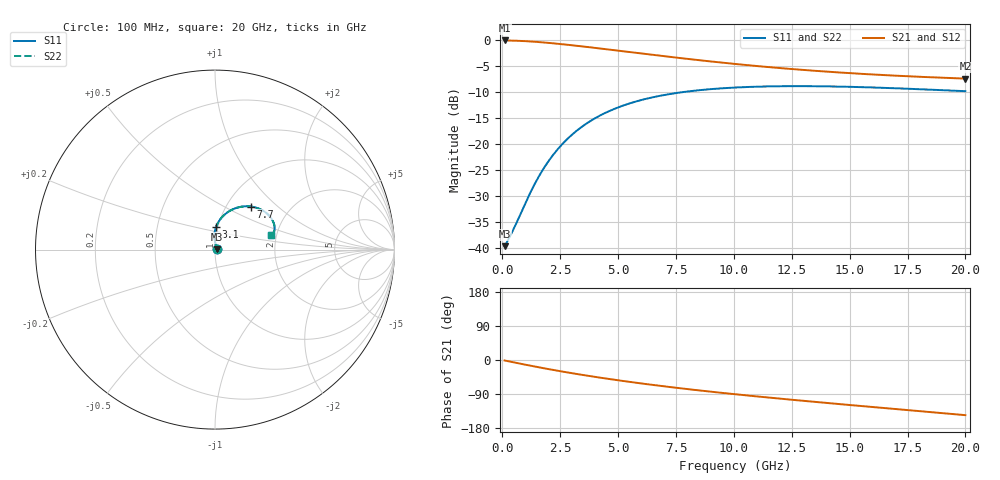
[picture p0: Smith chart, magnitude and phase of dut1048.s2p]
! Touchstone file exported from HFSS 2024.1.0
!  File:  C:/UserFiles/LocalFiles/RDL_TSV_Batchsim/temp_RDL_TSV_1048_1780087407.aedt
!  Generated:  05:03:37 AM May 30, 2026
!  Design:  RDL_TSV
!  Project:  temp_RDL_TSV_1048_1780087407
!  Setup:  Setup1
!  Solution:  Sweep
! Variables:
!  dtsv = 5.16um
!  hbump = 3um
!  htsv = 99.38um
!  ldown = 309.94um
!  lrdl = 194.67um
!  p = 40
!  p1 = 54.1um
!  rhole = 10um
!  subl = 1708.5um
!  t = 450um
!  tdown = 4.15um
!  trdl = 4.75um
!  viad = 10um
!  wdown = 16.87um
!  wrdl = 24.55um
!  xbump = 18um
# GHz S MA R 50.000000
! Terminal data exported
! Port[1] = TM1_1_T1
! Port[2] = TM1_4_T1
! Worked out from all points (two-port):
!   200 points, 100 MHz to 20 GHz, reference 50 ohm
!   highest |S21| = -0.09 dB at 100 MHz (marker M1); lowest = -7.4 dB at 20 GHz (marker M2)
!   |S21| within 3 dB of the highest: start of sweep to 6.933 GHz
!   lowest |S11| = -39.7 dB at 100 MHz (marker M3), VSWR 1.02, Z = 51 + j0.273 ohm
!   |S11| at or under -10 dB: start of sweep to 7.856 GHz
!   |S22| runs from -39.7 to -8.9 dB; largest |S21 - S12| = 9e-15
!   S11 on the Smith chart (normalised r, x): 100 MHz: 1.02, +0.01; 3.1 GHz: 0.98, +0.25; 7.7 GHz: 1.30, +0.69; 20 GHz: 1.87, +0.33
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0.1  0.01035 15.0  0.9898 -1.3  0.9898 -1.3  0.01035 15.0
! Gamma 0 0 0 0
! Port Impedance 50 0 50 0
0.5  0.0153 53.5  0.9853 -6.3  0.9853 -6.3  0.0153 53.5
0.9  0.02405 76.2  0.9772 -11.2  0.9772 -11.2  0.02405 76.2
1.3  0.0372 87.5  0.9653 -16.0  0.9653 -16.0  0.03719 87.5
1.7  0.05398 92.0  0.9505 -20.7  0.9505 -20.7  0.05396 92.0
2  0.06834 92.7  0.9379 -24.1  0.9379 -24.1  0.06832 92.7
2.4  0.0891 91.7  0.9197 -28.5  0.9197 -28.5  0.08907 91.7
2.7  0.1054 90.1  0.9053 -31.6  0.9053 -31.6  0.1054 90.1
3.1  0.1275 87.2  0.8854 -35.8  0.8854 -35.8  0.1274 87.2
3.5  0.1495 83.8  0.8652 -39.7  0.8652 -39.7  0.1494 83.8
4.2  0.1863 77.6  0.8296 -46.4  0.8296 -46.4  0.1862 77.6
5  0.2243 70.5  0.7897 -53.5  0.7897 -53.5  0.2242 70.5
5.8  0.2569 63.8  0.7513 -60.2  0.7513 -60.2  0.2567 63.8
6.8  0.2899 56.1  0.7064 -68.1  0.7064 -68.1  0.2898 56.1
7.7  0.3129 50.0  0.6693 -74.7  0.6693 -74.7  0.3127 50.0
8.9  0.3349 42.9  0.625 -82.9  0.625 -82.9  0.3347 42.9
10.1  0.3489 36.8  0.5865 -90.6  0.5865 -90.6  0.3488 36.8
11.7  0.358 30.1  0.5435 -100.3  0.5435 -100.3  0.3579 30.1
13.4  0.359 24.4  0.507 -110.0  0.507 -110.0  0.3589 24.4
15  0.3541 20.3  0.4797 -118.7  0.4797 -118.7  0.354 20.3
16.7  0.3448 17.1  0.4567 -127.9  0.4567 -127.9  0.3447 17.1
20  0.3215 14.2  0.4251 -145.6  0.4251 -145.6  0.3214 14.2
